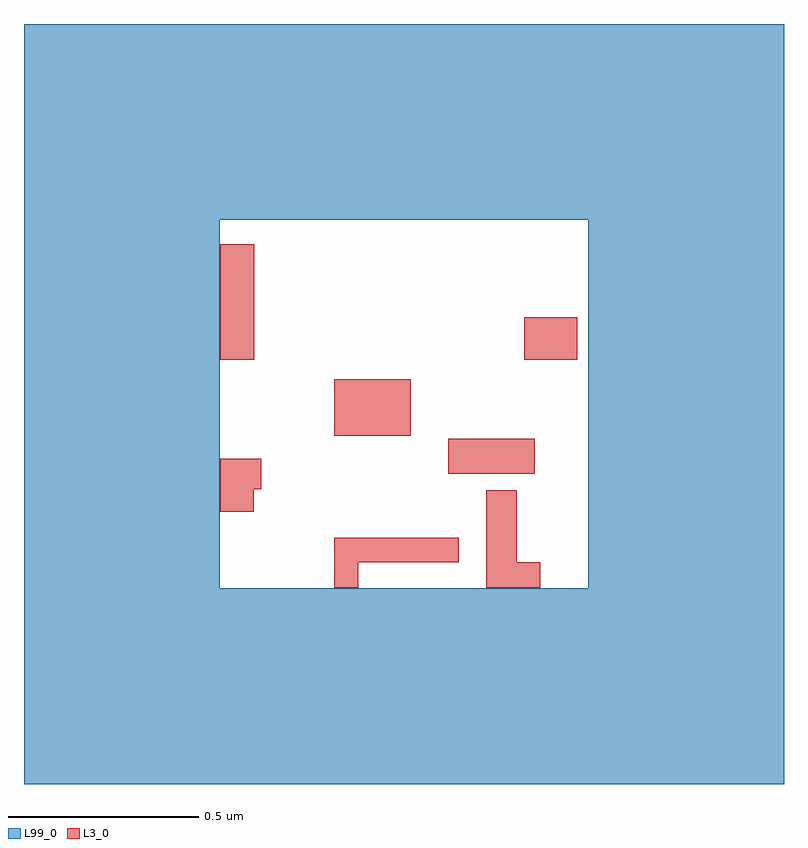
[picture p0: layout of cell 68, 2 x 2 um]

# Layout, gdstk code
import gdstk
lib = gdstk.Library(unit=1e-6, precision=1e-09)
def R(c, l, rs):  # rectangles x0, y0, x1, y1
    for r in rs: c.add(gdstk.rectangle(r[:2], r[2:], *l))
def P(c, l, *ps):  # polygons
    for p in ps: c.add(gdstk.Polygon(p, *l))
L3_0 = (3, 0)
L99_0 = (99, 0)

c_68 = lib.new_cell('68')
R(c_68, L3_0, [(1.116,0.816,1.344,0.908), (0.816,0.916,1.018,1.065), (0.516,1.116,0.606,1.42), (1.316,1.116,1.456,1.228)])
P(c_68, L3_0, [(0.816,0.516),(0.816,0.648),(1.144,0.648),(1.144,0.584),(0.88,0.584),(0.88,0.516)],
  [(1.216,0.516),(1.216,0.773),(1.297,0.773),(1.297,0.583),(1.358,0.583),(1.358,0.516)],
  [(0.516,0.716),(0.516,0.856),(0.624,0.856),(0.624,0.776),(0.604,0.776),(0.604,0.716)])
P(c_68, L99_0, [(0,0),(0,1.485),(0.515,1.485),(0.515,0.515),(1.485,0.515),(1.485,1.485),(0,1.485),(0,2),(2,2),(2,0)])

lib.write_gds('68.gds')
